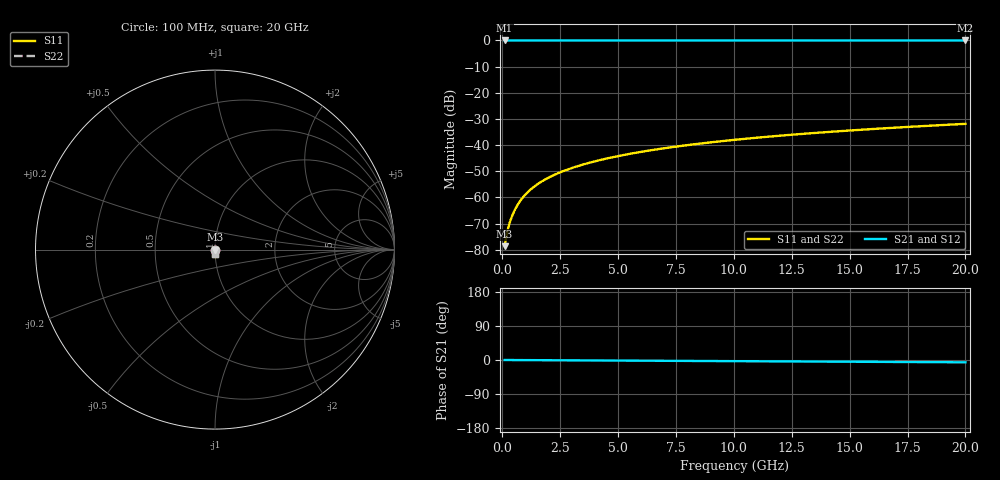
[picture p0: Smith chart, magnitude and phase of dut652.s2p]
! Touchstone file exported from HFSS 2026.1.0
!  File:  C:/ffzhzh/LocalFiles/Ansys_Project_Files/temp_train_TSV_652_1783026670_55676.aedt
!  Generated:  05:12:51 AM Jul  3, 2026
!  Design:  TSV
!  Project:  temp_train_TSV_652_1783026670_55676
! Variables:
!  h_bsmrdl = 2um
!  h_ox = 20um
!  h_rdl = 5um
!  h_sub = 57.78um
!  h_tmrdl = 5um
!  h_tsv = 57.78um
!  h_via = 3um
!  l_bsmrdl = 300um
!  l_sub = 426.84um
!  l_tmrdl = 200um
!  m_sub = 200um
!  pitch = 42.8um
!  r_tsv = 13.42um
!  s_tmrdl = 10um
!  w_bsmrdl = 18um
!  w_sub = 500um
!  w_tmrdl = 12um
!  x_tsv_center1 = 206um
!  x_tsv_center2 = 524um
!  x_tsv_center3 = 736um
!  x_tsv_center4 = 1054um
!  x_tsv_center5 = 1266um
!  x_tsv_center6 = 1584um
# GHz S MA R 50.000000
! Terminal data exported
! Port[1] = TSV1_1_T1
! Port[2] = TSV1_1_T2
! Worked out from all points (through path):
!   200 points, 100 MHz to 20 GHz, reference 50 ohm
!   highest |S21| = 0.00 dB at 100 MHz (marker M1); lowest = 0.0 dB at 20 GHz (marker M2)
!   lowest |S11| = -78.6 dB at 100 MHz (marker M3), VSWR 1.00, Z = 50 - j0.00943 ohm
!   |S11| at or under -10 dB: start of sweep to end of sweep
!   |S22| runs from -78.6 to -31.9 dB; largest |S21 - S12| = 0
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0.1  0.0001169 -53.7  0.9999 -0.0  0.9999 -0.0  0.0001169 -53.7
! Gamma 0 0 0 0
! Port Impedance 50 0 50 0
0.2  0.0002072 -67.4  0.9999 -0.1  0.9999 -0.1  0.0002072 -67.4
0.3  0.0003081 -72.1  0.9999 -0.1  0.9999 -0.1  0.0003081 -72.1
0.4  0.0004159 -74.3  0.9999 -0.1  0.9999 -0.1  0.0004159 -74.3
0.5  0.0005292 -75.7  0.9999 -0.2  0.9999 -0.2  0.0005292 -75.7
0.7  0.0007668 -77.6  0.9998 -0.2  0.9998 -0.2  0.0007668 -77.6
0.8  0.000889 -78.4  0.9998 -0.3  0.9998 -0.3  0.000889 -78.4
1  0.001137 -79.8  0.9998 -0.3  0.9998 -0.3  0.001137 -79.8
1.2  0.001387 -81.0  0.9998 -0.4  0.9998 -0.4  0.001387 -81.0
1.4  0.001637 -81.9  0.9998 -0.4  0.9998 -0.4  0.001637 -81.9
1.7  0.002013 -83.0  0.9997 -0.5  0.9997 -0.5  0.002013 -83.0
2  0.002388 -83.9  0.9997 -0.6  0.9997 -0.6  0.002388 -83.9
2.7  0.003264 -85.3  0.9997 -0.8  0.9997 -0.8  0.003264 -85.3
3.5  0.004268 -86.3  0.9996 -1.1  0.9996 -1.1  0.004268 -86.3
4.2  0.00515 -87.0  0.9996 -1.3  0.9996 -1.3  0.00515 -87.0
5  0.006164 -87.6  0.9996 -1.5  0.9996 -1.5  0.006164 -87.6
6.8  0.008459 -88.7  0.9995 -2.1  0.9995 -2.1  0.008459 -88.7
8.3  0.01038 -89.5  0.9994 -2.5  0.9994 -2.5  0.01038 -89.5
10.1  0.01269 -90.3  0.9993 -3.1  0.9993 -3.1  0.01269 -90.3
13.4  0.01694 -91.7  0.9992 -4.1  0.9992 -4.1  0.01694 -91.7
16.7  0.0212 -93.0  0.999 -5.1  0.999 -5.1  0.0212 -93.0
20  0.02547 -94.1  0.9988 -6.1  0.9988 -6.1  0.02547 -94.1
